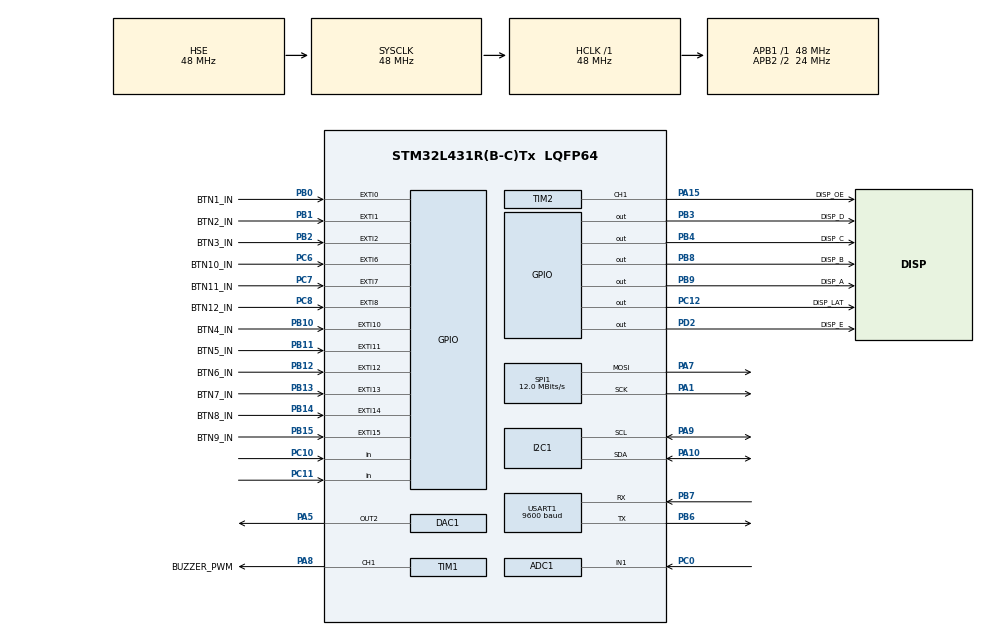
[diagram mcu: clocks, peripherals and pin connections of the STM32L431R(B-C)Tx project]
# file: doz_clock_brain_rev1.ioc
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ADC1.Channel-0\#ChannelRegularConversion=ADC_CHANNEL_1
ADC1.NbrOfConversionFlag=1
ADC1.OffsetNumber-0\#ChannelRegularConversion=ADC_OFFSET_NONE
ADC1.Rank-0\#ChannelRegularConversion=1
ADC1.SamplingTime-0\#ChannelRegularConversion=ADC_SAMPLETIME_2CYCLES_5
ADC1.master=1
DAC1.DAC_Channel-DAC_OUT2=DAC_CHANNEL_2
Dma.ADC1.1.Direction=DMA_PERIPH_TO_MEMORY
Dma.ADC1.1.Instance=DMA1_Channel1
Dma.ADC1.1.MemDataAlignment=DMA_MDATAALIGN_HALFWORD
Dma.ADC1.1.MemInc=DMA_MINC_ENABLE
Dma.ADC1.1.Mode=DMA_CIRCULAR
Dma.ADC1.1.PeriphDataAlignment=DMA_PDATAALIGN_HALFWORD
Dma.ADC1.1.PeriphInc=DMA_PINC_DISABLE
Dma.ADC1.1.Priority=DMA_PRIORITY_LOW
Dma.Request0=SPI1_TX
Dma.Request1=ADC1
Dma.SPI1_TX.0.Direction=DMA_MEMORY_TO_PERIPH
Dma.SPI1_TX.0.Instance=DMA1_Channel3
Dma.SPI1_TX.0.MemDataAlignment=DMA_MDATAALIGN_BYTE
Dma.SPI1_TX.0.MemInc=DMA_MINC_ENABLE
Dma.SPI1_TX.0.Mode=DMA_NORMAL
Dma.SPI1_TX.0.PeriphDataAlignment=DMA_PDATAALIGN_BYTE
Dma.SPI1_TX.0.PeriphInc=DMA_PINC_DISABLE
Dma.SPI1_TX.0.Priority=DMA_PRIORITY_LOW
I2C1.Timing=0x20303E5D
Mcu.Family=STM32L4
Mcu.Name=STM32L431R(B-C)Tx
Mcu.Package=LQFP64
NVIC.ADC1_IRQn=true\:3\:0\:true\:false\:true\:true\:true\:true
NVIC.DMA1_Channel1_IRQn=true\:0\:0\:false\:false\:true\:false\:true\:true
NVIC.DMA1_Channel3_IRQn=true\:0\:0\:false\:false\:true\:false\:true\:true
NVIC.EXTI0_IRQn=true\:3\:0\:true\:false\:true\:true\:true\:true
NVIC.EXTI15_10_IRQn=true\:3\:0\:true\:false\:true\:true\:true\:true
NVIC.EXTI1_IRQn=true\:3\:0\:true\:false\:true\:true\:true\:true
NVIC.EXTI2_IRQn=true\:3\:0\:true\:false\:true\:true\:true\:true
NVIC.EXTI9_5_IRQn=true\:3\:0\:true\:false\:true\:true\:true\:true
NVIC.PriorityGroup=NVIC_PRIORITYGROUP_4
NVIC.RTC_Alarm_IRQn=true\:2\:0\:true\:false\:true\:true\:true\:true
NVIC.TIM1_UP_TIM16_IRQn=true\:0\:0\:false\:false\:true\:true\:true\:true
NVIC.TIM2_IRQn=true\:2\:0\:true\:false\:true\:true\:true\:true
NVIC.TIM6_DAC_IRQn=true\:2\:0\:true\:false\:true\:true\:true\:true
NVIC.TIM7_IRQn=true\:0\:0\:false\:false\:true\:true\:true\:true
NVIC.USART1_IRQn=true\:0\:0\:false\:false\:true\:true\:true\:true
PA1.Mode=TX_Only_Simplex_Unidirect_Master
PA1.Signal=SPI1_SCK
PA10.Mode=I2C
PA10.Signal=I2C1_SDA
PA13\ (JTMS-SWDIO).Mode=Serial_Wire
PA13\ (JTMS-SWDIO).Signal=SYS_JTMS-SWDIO
PA14\ (JTCK-SWCLK).Mode=Serial_Wire
PA14\ (JTCK-SWCLK).Signal=SYS_JTCK-SWCLK
PA15\ (JTDI).GPIO_Label=DISP_OE
PA15\ (JTDI).Signal=S_TIM2_CH1
PA5.Signal=COMP_DAC12_group
PA7.Mode=TX_Only_Simplex_Unidirect_Master
PA7.Signal=SPI1_MOSI
PA8.GPIO_Label=BUZZER_PWM
PA8.Signal=S_TIM1_CH1
PA9.Mode=I2C
PA9.Signal=I2C1_SCL
PB0.GPIO_Label=BTN1_IN
PB0.GPIO_ModeDefaultEXTI=GPIO_MODE_IT_RISING_FALLING
PB0.Signal=GPXTI0
PB1.GPIO_Label=BTN2_IN
PB1.GPIO_ModeDefaultEXTI=GPIO_MODE_IT_RISING_FALLING
PB1.Signal=GPXTI1
PB10.GPIO_Label=BTN4_IN
PB10.GPIO_ModeDefaultEXTI=GPIO_MODE_IT_RISING_FALLING
PB10.Signal=GPXTI10
PB11.GPIO_Label=BTN5_IN
PB11.GPIO_ModeDefaultEXTI=GPIO_MODE_IT_RISING_FALLING
PB11.Signal=GPXTI11
PB12.GPIO_Label=BTN6_IN
PB12.GPIO_ModeDefaultEXTI=GPIO_MODE_IT_RISING_FALLING
PB12.Signal=GPXTI12
PB13.GPIO_Label=BTN7_IN
PB13.GPIO_ModeDefaultEXTI=GPIO_MODE_IT_RISING_FALLING
PB13.Signal=GPXTI13
PB14.GPIO_Label=BTN8_IN
PB14.GPIO_ModeDefaultEXTI=GPIO_MODE_IT_RISING_FALLING
PB14.Signal=GPXTI14
PB15.GPIO_Label=BTN9_IN
PB15.GPIO_ModeDefaultEXTI=GPIO_MODE_IT_RISING_FALLING
PB15.Signal=GPXTI15
PB2.GPIO_Label=BTN3_IN
PB2.GPIO_ModeDefaultEXTI=GPIO_MODE_IT_RISING_FALLING
PB2.Signal=GPXTI2
PB3\ (JTDO-TRACESWO).GPIO_Label=DISP_D
PB3\ (JTDO-TRACESWO).Signal=GPIO_Output
PB4\ (NJTRST).GPIO_Label=DISP_C
PB4\ (NJTRST).Signal=GPIO_Output
PB6.Mode=Asynchronous
PB6.Signal=USART1_TX
PB7.Mode=Asynchronous
PB7.Signal=USART1_RX
PB8.GPIO_Label=DISP_B
PB8.Signal=GPIO_Output
PB9.GPIO_Label=DISP_A
PB9.Signal=GPIO_Output
PC0.Signal=ADCx_IN1
PC10.Signal=GPIO_Input
PC11.Signal=GPIO_Input
PC12.GPIO_Label=DISP_LAT
PC12.Signal=GPIO_Output
PC14-OSC32_IN\ (PC14).Mode=LSE-External-Oscillator
PC14-OSC32_IN\ (PC14).Signal=RCC_OSC32_IN
PC15-OSC32_OUT\ (PC15).Mode=LSE-External-Oscillator
PC15-OSC32_OUT\ (PC15).Signal=RCC_OSC32_OUT
PC6.GPIO_Label=BTN10_IN
PC6.GPIO_ModeDefaultEXTI=GPIO_MODE_IT_RISING_FALLING
PC6.Signal=GPXTI6
PC7.GPIO_Label=BTN11_IN
PC7.GPIO_ModeDefaultEXTI=GPIO_MODE_IT_RISING_FALLING
PC7.Signal=GPXTI7
PC8.GPIO_Label=BTN12_IN
PC8.GPIO_ModeDefaultEXTI=GPIO_MODE_IT_RISING_FALLING
PC8.Signal=GPXTI8
PD2.GPIO_Label=DISP_E
PD2.Signal=GPIO_Output
PH0-OSC_IN\ (PH0).Mode=HSE-External-Oscillator
PH0-OSC_IN\ (PH0).Signal=RCC_OSC_IN
PH1-OSC_OUT\ (PH1).Mode=HSE-External-Oscillator
PH1-OSC_OUT\ (PH1).Signal=RCC_OSC_OUT
ProjectManager.HeapSize=0x200
ProjectManager.StackSize=0x400
ProjectManager.TargetToolchain=STM32CubeIDE
RCC.ADCFreq_Value=64000000
RCC.AHBFreq_Value=48000000
RCC.APB1Freq_Value=48000000
RCC.APB1TimFreq_Value=48000000
RCC.APB2CLKDivider=RCC_HCLK_DIV2
RCC.APB2Freq_Value=24000000
RCC.APB2TimFreq_Value=48000000
RCC.CortexFreq_Value=48000000
RCC.HCLKFreq_Value=48000000
RCC.HSE_VALUE=48000000
RCC.HSI48_VALUE=48000000
RCC.HSI_VALUE=16000000
RCC.MSI_VALUE=4000000
RCC.PLLM=3
RCC.PLLSourceVirtual=RCC_PLLSOURCE_HSE
RCC.RTCClockSelection=RCC_RTCCLKSOURCE_LSE
RCC.SYSCLKFreq_VALUE=48000000
RCC.SYSCLKSource=RCC_SYSCLKSOURCE_HSE
RCC.VCOOutputFreq_Value=128000000
RTC.Alarm-Alarm\ A=RTC_ALARM_A
RTC.Alarm_B-Alarm\ B=RTC_ALARM_B
RTC.Format=RTC_FORMAT_BCD
SH.ADCx_IN1.0=ADC1_IN1,IN1-Single-Ended
SH.COMP_DAC12_group.0=DAC1_OUT2,DAC_OUT2
SH.S_TIM1_CH1.0=TIM1_CH1,PWM Generation1 CH1
SH.S_TIM2_CH1.0=TIM2_CH1,PWM Generation1 CH1
SPI1.CalculateBaudRate=12.0 MBits/s
SPI1.DataSize=SPI_DATASIZE_8BIT
SPI1.Direction=SPI_DIRECTION_2LINES
SPI1.Mode=SPI_MODE_MASTER
SPI1.VirtualType=VM_MASTER
TIM1.Channel-PWM\ Generation1\ CH1=TIM_CHANNEL_1
TIM1.Period=11999
TIM1.Prescaler=1
TIM16.Period=45983
TIM16.Prescaler=2
TIM2.Channel-PWM\ Generation1\ CH1=TIM_CHANNEL_1
TIM2.Period=24959
TIM6.Period=62499
TIM6.Prescaler=383
TIM7.Period=55665
TIM7.Prescaler=143
USART1.BaudRate=9600
USART1.VirtualMode-Asynchronous=VM_ASYNC
VP_RTC_VS_RTC_Activate.Mode=RTC_Enabled
VP_RTC_VS_RTC_Alarm_A_Intern.Mode=Alarm A
VP_RTC_VS_RTC_Alarm_B_Intern.Mode=Alarm B
VP_RTC_VS_RTC_Calendar.Mode=RTC_Calendar
VP_TIM16_VS_ClockSourceINT.Mode=Enable_Timer
VP_TIM6_VS_ClockSourceINT.Mode=Enable_Timer
VP_TIM7_VS_ClockSourceINT.Mode=Enable_Timer
board=custom

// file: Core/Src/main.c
/* USER CODE BEGIN Header */
/**
  ******************************************************************************
  * @file           : main.c
  * @brief          : Main program body
  ******************************************************************************
  * @attention
  *
  * Copyright (c) 2024 STMicroelectronics.
  * All rights reserved.
  *
  * This software is licensed under terms that can be found in the LICENSE file
  * in the root directory of this software component.
  * If no LICENSE file comes with this software, it is provided AS-IS.
  *
  ******************************************************************************
  */
/* USER CODE END Header */
#include "main.h"
#include "adc.h"
#include "dac.h"
#include "dma.h"
#include "i2c.h"
#include "rtc.h"
#include "spi.h"
#include "tim.h"
#include "usart.h"
#include "gpio.h"

/* USER CODE BEGIN Includes */
#include "buzzer.h"
#include "clock_types.h"
#include "display.h"
#include "event_queue.h"
#include "doz_clock.h"

#include "adc-light-sens.h"
#include "dac-buzzer.h"
#include "gpio-buttons.h"
#include "hub75-driver.h"
#include "i2c-rtc.h"
#include "pwm-buzzer.h"
#include "rtc-internal.h"
#include "uart-gps.h"
/* USER CODE END Includes */

/* USER CODE BEGIN PM */

//#define USE_EXTERNAL_RTC
//#define USE_DAC_BUZZER

/* USER CODE END PM */

/* USER CODE BEGIN PV */
DozClock    doz_clock;

Display rgb_matrix;
Buzzer  buzzer;
Gps     neo6m;

#ifdef USE_EXTERNAL_RTC
Rtc ds3231;
#else
Rtc rtc_internal;
#endif
/* USER CODE END PV */

void SystemClock_Config(void);

int main(void)
{

  /* MCU Configuration--------------------------------------------------------*/

  /* Reset of all peripherals, Initializes the Flash interface and the Systick. */
  HAL_Init();

  /* Configure the system clock */
  SystemClock_Config();

  /* Initialize all configured peripherals */
  MX_GPIO_Init();
  MX_DMA_Init();
  MX_TIM2_Init();
  MX_SPI1_Init();
  MX_ADC1_Init();
  MX_TIM6_Init();
  MX_TIM7_Init();
  MX_I2C1_Init();
  MX_TIM1_Init();
  MX_RTC_Init();
  MX_DAC1_Init();
  MX_TIM16_Init();
  MX_USART1_UART_Init();
  /* USER CODE BEGIN 2 */

#ifdef USE_DAC_BUZZER
  // DAC Buzzer
  PKM22E_DAC_Init(&htim16, &hdac1, DAC_CHANNEL_2);
  buzzer.setOutputLevel = PKM22E_DAC_OutputLevel;
  buzzer.start          = PKM22E_DAC_Start;
  buzzer.stop           = PKM22E_DAC_Stop;
  doz_clock.buzzer = &buzzer;
#else
  // PWM Buzzer
  PKM22E_PWM_Init(&htim1, TIM_CHANNEL_1);
  buzzer.setOutputLevel = PKM22E_PWM_OutputLevel;
  buzzer.start          = PKM22E_PWM_Start;
  buzzer.stop           = PKM22E_PWM_Stop;
  doz_clock.buzzer = &buzzer;
#endif

  // Display
  HUB75_Init(&hspi1, &htim2, TIM_CHANNEL_1);
  rgb_matrix.displayOff     = HUB75_DisplayOff;
  rgb_matrix.displayOn      = HUB75_DisplayOn;
  rgb_matrix.setBrightness  = HUB75_SetDisplayBrightness;
  rgb_matrix.setBitmap      = HUB75_SetBitmap;
  rgb_matrix.setColour      = HUB75_SetColour;
  rgb_matrix.show           = HUB75_Show;
  rgb_matrix.hide           = HUB75_Hide;
  doz_clock.display = &rgb_matrix;

#ifdef USE_EXTERNAL_RTC
  // External RTC
  DS3231_Init(&hi2c1);
  ds3231.enableAlarm    = DS3231_EnableAlarm;
  ds3231.getAlarm       = DS3231_GetAlarm;
  ds3231.getTime        = DS3231_GetTime;
  ds3231.getDay         = DS3231_GetDate;
  ds3231.getMonth       = DS3231_GetMonth;
  ds3231.setAlarm       = DS3231_SetAlarm;
  ds3231.setDay         = DS3231_SetDate;
  ds3231.setMonth       = DS3231_SetMonth;
  ds3231.setRtcTime     = DS3231_SetTime;
  doz_clock.rtc = &ds3231;
#else
  // Internal RTC
  RTC_Init(&hrtc);
  rtc_internal.enableAlarm      = RTC_EnableAlarm;
  rtc_internal.getAlarm         = RTC_GetAlarm;
  rtc_internal.getDay           = RTC_GetDay;
  rtc_internal.getMonth         = RTC_GetMonth;
  rtc_internal.getTime          = RTC_GetTime;
  rtc_internal.setAlarm         = RTC_SetAlarm;
  rtc_internal.setDay           = RTC_SetDay;
  rtc_internal.setMonth         = RTC_SetMonth;
  rtc_internal.setRtcTime       = RTC_SetTime;
  rtc_internal.getAlarmStatus   = RTC_CheckAlarmSaved;
  rtc_internal.setCalibration   = RTC_SetCalibration;
  rtc_internal.getCalibration   = RTC_GetCalibration;
  rtc_internal.max_calib        = MAX_CALIBRATION_OFFSET;
  doz_clock.rtc = &rtc_internal;
#endif

  // GPS
  GPS_Init(&huart1);
  neo6m.gpsConnected    = GPS_get_gps_connected;
  neo6m.getUtcTime      = GPS_get_utc_time;
  doz_clock.gps = &neo6m;

  // Doz Clock
  doz_clock.error_handler = Error_Handler;
  DozClock_Init(&doz_clock);

  // Buttons
  Buttons_Init();

  // Light sensor
  LightSens_Init(&hadc1, &htim6);

  // Start 6Hz timer
  HAL_TIM_Base_Start_IT(&htim7);

  /* USER CODE END 2 */

  /* Infinite loop */
  /* USER CODE BEGIN WHILE */
  while (1)
  {
      DozClock_Update();
    /* USER CODE END WHILE */

  }
}

void SystemClock_Config(void)
{
  RCC_OscInitTypeDef RCC_OscInitStruct = {0};
  RCC_ClkInitTypeDef RCC_ClkInitStruct = {0};

  /** Configure the main internal regulator output voltage
  */
  if (HAL_PWREx_ControlVoltageScaling(PWR_REGULATOR_VOLTAGE_SCALE1) != HAL_OK)
  {
    Error_Handler();
  }

  /** Configure LSE Drive Capability
  */
  HAL_PWR_EnableBkUpAccess();
  __HAL_RCC_LSEDRIVE_CONFIG(RCC_LSEDRIVE_LOW);

  /** Initializes the RCC Oscillators according to the specified parameters
  * in the RCC_OscInitTypeDef structure.
  */
  RCC_OscInitStruct.OscillatorType = RCC_OSCILLATORTYPE_HSE|RCC_OSCILLATORTYPE_LSE;
  RCC_OscInitStruct.HSEState = RCC_HSE_ON;
  RCC_OscInitStruct.LSEState = RCC_LSE_ON;
  RCC_OscInitStruct.PLL.PLLState = RCC_PLL_NONE;
  if (HAL_RCC_OscConfig(&RCC_OscInitStruct) != HAL_OK)
  {
    Error_Handler();
  }

  /** Initializes the CPU, AHB and APB buses clocks
  */
  RCC_ClkInitStruct.ClockType = RCC_CLOCKTYPE_HCLK|RCC_CLOCKTYPE_SYSCLK
                              |RCC_CLOCKTYPE_PCLK1|RCC_CLOCKTYPE_PCLK2;
  RCC_ClkInitStruct.SYSCLKSource = RCC_SYSCLKSOURCE_HSE;
  RCC_ClkInitStruct.AHBCLKDivider = RCC_SYSCLK_DIV1;
  RCC_ClkInitStruct.APB1CLKDivider = RCC_HCLK_DIV1;
  RCC_ClkInitStruct.APB2CLKDivider = RCC_HCLK_DIV2;

  if (HAL_RCC_ClockConfig(&RCC_ClkInitStruct, FLASH_LATENCY_2) != HAL_OK)
  {
    Error_Handler();
  }
}

/* USER CODE BEGIN 4 */
void HAL_TIM_PeriodElapsedCallback(TIM_HandleTypeDef *htim)
{
    if (htim == &htim2)
    {
        HUB75_PwmStartPulse();
    }
    else if (htim == &htim6)
    {
        // 2 Hz freq
        LightSens_AdcStartConversion();
    }
    else if (htim == &htim7)
    {
        // 6 Hz freq
        Buttons_TimerCallback(167);
        DozClock_TimerCallback();
    }
#ifdef USE_DAC_BUZZER
    else if (htim == &htim16)
    {
        PKM22E_DAC_FreqTimerCallback();
    }
#endif
}

void HAL_ADC_ConvCpltCallback(ADC_HandleTypeDef* hadc)
{
    LightSens_AdcConversionCallback();
}

void HAL_GPIO_EXTI_Callback(uint16_t pin)
{
	#ifdef USE_EXTERNAL_RTC
	if (pin != EXT_RTC_SQW_Pin)
	{
	    Buttons_GpioCallback(pin);
	}
	else
	{
	    if (DS3231_IsAlarm1Triggered()) {
	    	EventQ_TriggerAlarmEvent(TIMER_TRIG);
	    } else if (DS3231_IsAlarm2Triggered()) {
	    	EventQ_TriggerAlarmEvent(ALARM_TRIG);
	    }
	}
	#else
	Buttons_GpioCallback(pin);
	#endif
}

void HAL_UART_RxCpltCallback(UART_HandleTypeDef *huart)
{
    GPS_UART_CallBack();
}

void HAL_UART_ErrorCallback(UART_HandleTypeDef *huart)
{
    GPS_UART_CallBack();
}
/* USER CODE END 4 */

void Error_Handler(void)
{
  __disable_irq();
  while (1)
  {
  }
}
